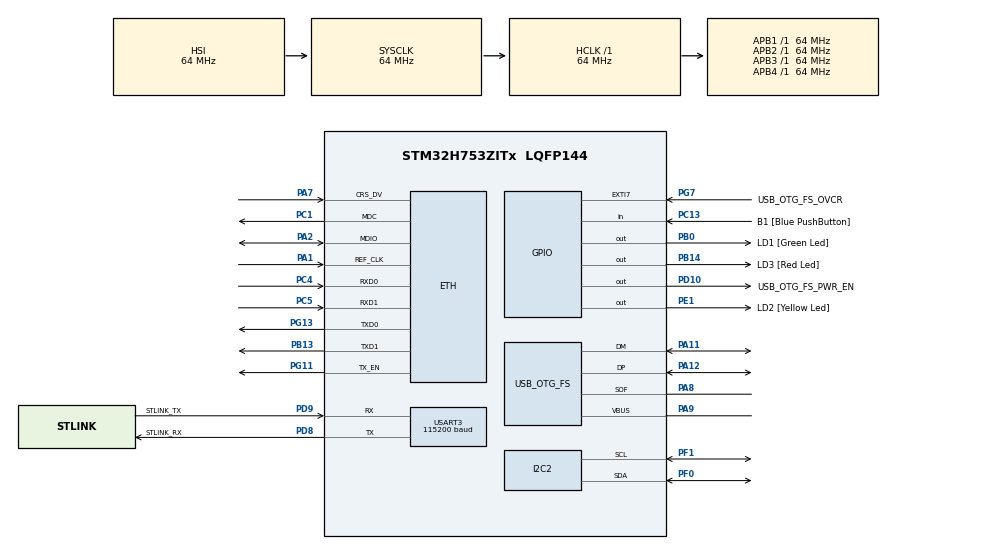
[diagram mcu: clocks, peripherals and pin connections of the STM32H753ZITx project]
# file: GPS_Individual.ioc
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CORTEX_M7.CPU_DCache=Disabled
CORTEX_M7.CPU_ICache=Disabled
CORTEX_M7.MPU_Control=__NULL
ETH.ETH_RX_DESC_CNT=4
ETH.ETH_TX_DESC_CNT=4
ETH.MACAddr=00\:80\:E1\:00\:00\:00
ETH.MediaInterface=HAL_ETH_RMII_MODE
ETH.RxBuffAddress=0x30040200
ETH.RxBuffLen=1524
ETH.RxDescAddress=0x30040000
ETH.TxDescAddress=0x30040060
Mcu.Family=STM32H7
Mcu.Name=STM32H753ZITx
Mcu.Package=LQFP144
NVIC.PriorityGroup=NVIC_PRIORITYGROUP_4
PA1.Mode=RMII
PA1.Signal=ETH_REF_CLK
PA11.Mode=Device_Only
PA11.Signal=USB_OTG_FS_DM
PA12.Mode=Device_Only
PA12.Signal=USB_OTG_FS_DP
PA2.Mode=RMII
PA2.Signal=ETH_MDIO
PA7.Mode=RMII
PA7.Signal=ETH_CRS_DV
PA8.Mode=Activate_SOF_FS
PA8.Signal=USB_OTG_FS_SOF
PA9.Mode=Activate_VBUS
PA9.Signal=USB_OTG_FS_VBUS
PB0.GPIO_Label=LD1 [Green Led]
PB0.Signal=GPIO_Output
PB13.Mode=RMII
PB13.Signal=ETH_TXD1
PB14.GPIO_Label=LD3 [Red Led]
PB14.Signal=GPIO_Output
PC1.Mode=RMII
PC1.Signal=ETH_MDC
PC13.GPIO_Label=B1 [Blue PushButton]
PC13.Signal=GPIO_Input
PC14-OSC32_IN\ (OSC32_IN).Mode=LSE-External-Oscillator
PC14-OSC32_IN\ (OSC32_IN).Signal=RCC_OSC32_IN
PC15-OSC32_OUT\ (OSC32_OUT).Mode=LSE-External-Oscillator
PC15-OSC32_OUT\ (OSC32_OUT).Signal=RCC_OSC32_OUT
PC4.Mode=RMII
PC4.Signal=ETH_RXD0
PC5.Mode=RMII
PC5.Signal=ETH_RXD1
PD10.GPIO_Label=USB_OTG_FS_PWR_EN
PD10.Signal=GPIO_Output
PD8.GPIO_Label=STLINK_RX
PD8.Mode=Asynchronous
PD8.Signal=USART3_TX
PD9.GPIO_Label=STLINK_TX
PD9.Mode=Asynchronous
PD9.Signal=USART3_RX
PE1.GPIO_Label=LD2 [Yellow Led]
PE1.Signal=GPIO_Output
PF0.Mode=I2C
PF0.Signal=I2C2_SDA
PF1.Mode=I2C
PF1.Signal=I2C2_SCL
PG11.Mode=RMII
PG11.Signal=ETH_TX_EN
PG13.Mode=RMII
PG13.Signal=ETH_TXD0
PG7.GPIO_Label=USB_OTG_FS_OVCR
PG7.Signal=GPXTI7
PH0-OSC_IN\ (PH0).Mode=HSE-External-Clock-Source
PH0-OSC_IN\ (PH0).Signal=RCC_OSC_IN
PH1-OSC_OUT\ (PH1).Signal=RCC_OSC_OUT
ProjectManager.HeapSize=0x200
ProjectManager.StackSize=0x400
ProjectManager.TargetToolchain=STM32CubeIDE
RCC.ADCFreq_Value=16125000
RCC.APB1Freq_Value=64000000
RCC.APB2Freq_Value=64000000
RCC.APB3Freq_Value=64000000
RCC.APB4Freq_Value=64000000
RCC.CortexFreq_Value=64000000
RCC.DIVM1=1
RCC.DIVN1=24
RCC.DIVQ1=4
RCC.HCLKFreq_Value=64000000
RCC.HSE_VALUE=8000000
RCC.PLLFRACN=0
RCC.PWR_Regulator_Voltage_Scale=PWR_REGULATOR_VOLTAGE_SCALE2
RCC.SYSCLKFreq_VALUE=64000000
RCC.USBFreq_Value=48000000
USART3.AutoBaudRateEnableParam=UART_ADVFEATURE_AUTOBAUDRATE_DISABLE
USART3.BaudRate=115200
USART3.ClockPrescaler=PRESCALER_DIV1
USART3.DMADisableonRxErrorParam=ADVFEATURE_DMA_ENABLEONRXERROR
USART3.DataInvertParam=ADVFEATURE_DATAINV_DISABLE
USART3.FIFOMode=FIFOMODE_DISABLE
USART3.MSBFirstParam=ADVFEATURE_MSBFIRST_DISABLE
USART3.Mode=MODE_TX_RX
USART3.OneBitSampling=UART_ONE_BIT_SAMPLE_DISABLE
USART3.OverSampling=UART_OVERSAMPLING_16
USART3.OverrunDisableParam=ADVFEATURE_OVERRUN_ENABLE
USART3.Parity=PARITY_NONE
USART3.RXFIFOThreshold=RXFIFO_THRESHOLD_1EIGHTHFULL
USART3.RxPinLevelInvertParam=ADVFEATURE_RXINV_DISABLE
USART3.StopBits=STOPBITS_1
USART3.SwapParam=ADVFEATURE_SWAP_DISABLE
USART3.TXFIFOThreshold=TXFIFO_THRESHOLD_1EIGHTHFULL
USART3.TxPinLevelInvertParam=ADVFEATURE_TXINV_DISABLE
USART3.VirtualMode-Asynchronous=VM_ASYNC
USART3.WordLength=WORDLENGTH_8B
USB_OTG_FS.Sof_enable=ENABLE
USB_OTG_FS.VirtualMode=Device_Only
USB_OTG_FS.battery_charging_enable=ENABLE
USB_OTG_FS.low_power_enable=DISABLE
USB_OTG_FS.lpm_enable=DISABLE
USB_OTG_FS.use_dedicated_ep1=DISABLE
USB_OTG_FS.vbus_sensing_enable=ENABLE
board=NUCLEO-H753ZI

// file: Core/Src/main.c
/* USER CODE BEGIN Header */
	/**
	  ******************************************************************************
	  * @file           : main.c
	  * @brief          : Main program body
	  ******************************************************************************
	  * @attention
	  *
	  * Copyright (c) 2024 STMicroelectronics.
	  * All rights reserved.
	  *
	  * This software is licensed under terms that can be found in the LICENSE file
	  * in the root directory of this software component.
	  * If no LICENSE file comes with this software, it is provided AS-IS.
	  *
	  ******************************************************************************
	  */
/* USER CODE END Header */
#include "main.h"
#include "string.h"

/* USER CODE BEGIN PD */
	#define PA1010D_ADDR 0x10  // I2C address for PA1010D
	#define MAX_READ 250       // Maximum read buffer size
/* USER CODE END PD */

#if defined ( __ICCARM__ ) /*!< IAR Compiler */
#pragma location=0x30040000
ETH_DMADescTypeDef  DMARxDscrTab[ETH_RX_DESC_CNT]; /* Ethernet Rx DMA Descriptors */
#pragma location=0x30040060
ETH_DMADescTypeDef  DMATxDscrTab[ETH_TX_DESC_CNT]; /* Ethernet Tx DMA Descriptors */

#elif defined ( __CC_ARM )  /* MDK ARM Compiler */

__attribute__((at(0x30040000))) ETH_DMADescTypeDef  DMARxDscrTab[ETH_RX_DESC_CNT]; /* Ethernet Rx DMA Descriptors */
__attribute__((at(0x30040060))) ETH_DMADescTypeDef  DMATxDscrTab[ETH_TX_DESC_CNT]; /* Ethernet Tx DMA Descriptors */

#elif defined ( __GNUC__ ) /* GNU Compiler */
ETH_DMADescTypeDef DMARxDscrTab[ETH_RX_DESC_CNT] __attribute__((section(".RxDecripSection"))); /* Ethernet Rx DMA Descriptors */
ETH_DMADescTypeDef DMATxDscrTab[ETH_TX_DESC_CNT] __attribute__((section(".TxDecripSection")));   /* Ethernet Tx DMA Descriptors */

#endif

ETH_TxPacketConfig TxConfig;

ETH_HandleTypeDef heth;

I2C_HandleTypeDef hi2c2;

UART_HandleTypeDef huart3;

PCD_HandleTypeDef hpcd_USB_OTG_FS;

void SystemClock_Config(void);
static void MX_GPIO_Init(void);
static void MX_ETH_Init(void);
static void MX_USART3_UART_Init(void);
static void MX_USB_OTG_FS_PCD_Init(void);
static void MX_I2C2_Init(void);
/* USER CODE BEGIN PFP */
	void pa1010d_write_command(const char *command, int com_length);
	void pa1010d_parse_string(char *output, const char *protocol);
	void pa1010d_read_raw(char *numcommand);
/* USER CODE END PFP */

int main(void)
{

  /* MCU Configuration--------------------------------------------------------*/

  /* Reset of all peripherals, Initializes the Flash interface and the Systick. */
  HAL_Init();

  /* Configure the system clock */
  SystemClock_Config();

  /* Initialize all configured peripherals */
  MX_GPIO_Init();
  MX_ETH_Init();
  MX_USART3_UART_Init();
  MX_USB_OTG_FS_PCD_Init();
  MX_I2C2_Init();
  /* USER CODE BEGIN 2 */
	  char numcommand[MAX_READ];
	  char init_command[] = "$PMTK314,0,1,0,0,0,0,0,0,0,0,0,0,0,0,0,0,0*29\r\n";

	  // Write initialization command to PA1010D
	  pa1010d_write_command(init_command, sizeof(init_command) - 1);
  /* USER CODE END 2 */

  /* Infinite loop */
  /* USER CODE BEGIN WHILE */
	  while (1) {
	      // Clear the buffer before reading
	      memset(numcommand, 0, MAX_READ);

	      // Read raw data from PA1010D
	      pa1010d_read_raw(numcommand);

	      // Parse the GNRMC string
	      pa1010d_parse_string(numcommand, "GNRMC");

	      // Wait for the next GPS update
	      HAL_Delay(1000);
	  }
    /* USER CODE END WHILE */

  }

void SystemClock_Config(void)
{
  RCC_OscInitTypeDef RCC_OscInitStruct = {0};
  RCC_ClkInitTypeDef RCC_ClkInitStruct = {0};

  /** Supply configuration update enable
  */
  HAL_PWREx_ConfigSupply(PWR_LDO_SUPPLY);

  /** Configure the main internal regulator output voltage
  */
  __HAL_PWR_VOLTAGESCALING_CONFIG(PWR_REGULATOR_VOLTAGE_SCALE2);

  while(!__HAL_PWR_GET_FLAG(PWR_FLAG_VOSRDY)) {}

  /** Initializes the RCC Oscillators according to the specified parameters
  * in the RCC_OscInitTypeDef structure.
  */
  RCC_OscInitStruct.OscillatorType = RCC_OSCILLATORTYPE_HSI|RCC_OSCILLATORTYPE_HSE;
  RCC_OscInitStruct.HSEState = RCC_HSE_BYPASS;
  RCC_OscInitStruct.HSIState = RCC_HSI_DIV1;
  RCC_OscInitStruct.HSICalibrationValue = RCC_HSICALIBRATION_DEFAULT;
  RCC_OscInitStruct.PLL.PLLState = RCC_PLL_ON;
  RCC_OscInitStruct.PLL.PLLSource = RCC_PLLSOURCE_HSE;
  RCC_OscInitStruct.PLL.PLLM = 1;
  RCC_OscInitStruct.PLL.PLLN = 24;
  RCC_OscInitStruct.PLL.PLLP = 2;
  RCC_OscInitStruct.PLL.PLLQ = 4;
  RCC_OscInitStruct.PLL.PLLR = 2;
  RCC_OscInitStruct.PLL.PLLRGE = RCC_PLL1VCIRANGE_3;
  RCC_OscInitStruct.PLL.PLLVCOSEL = RCC_PLL1VCOWIDE;
  RCC_OscInitStruct.PLL.PLLFRACN = 0;
  if (HAL_RCC_OscConfig(&RCC_OscInitStruct) != HAL_OK)
  {
    Error_Handler();
  }

  /** Initializes the CPU, AHB and APB buses clocks
  */
  RCC_ClkInitStruct.ClockType = RCC_CLOCKTYPE_HCLK|RCC_CLOCKTYPE_SYSCLK
                              |RCC_CLOCKTYPE_PCLK1|RCC_CLOCKTYPE_PCLK2
                              |RCC_CLOCKTYPE_D3PCLK1|RCC_CLOCKTYPE_D1PCLK1;
  RCC_ClkInitStruct.SYSCLKSource = RCC_SYSCLKSOURCE_HSI;
  RCC_ClkInitStruct.SYSCLKDivider = RCC_SYSCLK_DIV1;
  RCC_ClkInitStruct.AHBCLKDivider = RCC_HCLK_DIV1;
  RCC_ClkInitStruct.APB3CLKDivider = RCC_APB3_DIV1;
  RCC_ClkInitStruct.APB1CLKDivider = RCC_APB1_DIV1;
  RCC_ClkInitStruct.APB2CLKDivider = RCC_APB2_DIV1;
  RCC_ClkInitStruct.APB4CLKDivider = RCC_APB4_DIV1;

  if (HAL_RCC_ClockConfig(&RCC_ClkInitStruct, FLASH_LATENCY_1) != HAL_OK)
  {
    Error_Handler();
  }
}

static void MX_ETH_Init(void)
{

   static uint8_t MACAddr[6];

  heth.Instance = ETH;
  MACAddr[0] = 0x00;
  MACAddr[1] = 0x80;
  MACAddr[2] = 0xE1;
  MACAddr[3] = 0x00;
  MACAddr[4] = 0x00;
  MACAddr[5] = 0x00;
  heth.Init.MACAddr = &MACAddr[0];
  heth.Init.MediaInterface = HAL_ETH_RMII_MODE;
  heth.Init.TxDesc = DMATxDscrTab;
  heth.Init.RxDesc = DMARxDscrTab;
  heth.Init.RxBuffLen = 1524;

  if (HAL_ETH_Init(&heth) != HAL_OK)
  {
    Error_Handler();
  }

  memset(&TxConfig, 0 , sizeof(ETH_TxPacketConfig));
  TxConfig.Attributes = ETH_TX_PACKETS_FEATURES_CSUM | ETH_TX_PACKETS_FEATURES_CRCPAD;
  TxConfig.ChecksumCtrl = ETH_CHECKSUM_IPHDR_PAYLOAD_INSERT_PHDR_CALC;
  TxConfig.CRCPadCtrl = ETH_CRC_PAD_INSERT;

}

static void MX_I2C2_Init(void)
{

  hi2c2.Instance = I2C2;
  hi2c2.Init.Timing = 0x10707DBC;
  hi2c2.Init.OwnAddress1 = 0;
  hi2c2.Init.AddressingMode = I2C_ADDRESSINGMODE_7BIT;
  hi2c2.Init.DualAddressMode = I2C_DUALADDRESS_DISABLE;
  hi2c2.Init.OwnAddress2 = 0;
  hi2c2.Init.OwnAddress2Masks = I2C_OA2_NOMASK;
  hi2c2.Init.GeneralCallMode = I2C_GENERALCALL_DISABLE;
  hi2c2.Init.NoStretchMode = I2C_NOSTRETCH_DISABLE;
  if (HAL_I2C_Init(&hi2c2) != HAL_OK)
  {
    Error_Handler();
  }

  /** Configure Analogue filter
  */
  if (HAL_I2CEx_ConfigAnalogFilter(&hi2c2, I2C_ANALOGFILTER_ENABLE) != HAL_OK)
  {
    Error_Handler();
  }

  /** Configure Digital filter
  */
  if (HAL_I2CEx_ConfigDigitalFilter(&hi2c2, 0) != HAL_OK)
  {
    Error_Handler();
  }

}

static void MX_USART3_UART_Init(void)
{

  huart3.Instance = USART3;
  huart3.Init.BaudRate = 115200;
  huart3.Init.WordLength = UART_WORDLENGTH_8B;
  huart3.Init.StopBits = UART_STOPBITS_1;
  huart3.Init.Parity = UART_PARITY_NONE;
  huart3.Init.Mode = UART_MODE_TX_RX;
  huart3.Init.HwFlowCtl = UART_HWCONTROL_NONE;
  huart3.Init.OverSampling = UART_OVERSAMPLING_16;
  huart3.Init.OneBitSampling = UART_ONE_BIT_SAMPLE_DISABLE;
  huart3.Init.ClockPrescaler = UART_PRESCALER_DIV1;
  huart3.AdvancedInit.AdvFeatureInit = UART_ADVFEATURE_NO_INIT;
  if (HAL_UART_Init(&huart3) != HAL_OK)
  {
    Error_Handler();
  }
  if (HAL_UARTEx_SetTxFifoThreshold(&huart3, UART_TXFIFO_THRESHOLD_1_8) != HAL_OK)
  {
    Error_Handler();
  }
  if (HAL_UARTEx_SetRxFifoThreshold(&huart3, UART_RXFIFO_THRESHOLD_1_8) != HAL_OK)
  {
    Error_Handler();
  }
  if (HAL_UARTEx_DisableFifoMode(&huart3) != HAL_OK)
  {
    Error_Handler();
  }

}

static void MX_USB_OTG_FS_PCD_Init(void)
{

  hpcd_USB_OTG_FS.Instance = USB_OTG_FS;
  hpcd_USB_OTG_FS.Init.dev_endpoints = 9;
  hpcd_USB_OTG_FS.Init.speed = PCD_SPEED_FULL;
  hpcd_USB_OTG_FS.Init.dma_enable = DISABLE;
  hpcd_USB_OTG_FS.Init.phy_itface = PCD_PHY_EMBEDDED;
  hpcd_USB_OTG_FS.Init.Sof_enable = ENABLE;
  hpcd_USB_OTG_FS.Init.low_power_enable = DISABLE;
  hpcd_USB_OTG_FS.Init.lpm_enable = DISABLE;
  hpcd_USB_OTG_FS.Init.battery_charging_enable = ENABLE;
  hpcd_USB_OTG_FS.Init.vbus_sensing_enable = ENABLE;
  hpcd_USB_OTG_FS.Init.use_dedicated_ep1 = DISABLE;
  if (HAL_PCD_Init(&hpcd_USB_OTG_FS) != HAL_OK)
  {
    Error_Handler();
  }

}

static void MX_GPIO_Init(void)
{
  GPIO_InitTypeDef GPIO_InitStruct = {0};

  /* GPIO Ports Clock Enable */
  __HAL_RCC_GPIOC_CLK_ENABLE();
  __HAL_RCC_GPIOF_CLK_ENABLE();
  __HAL_RCC_GPIOH_CLK_ENABLE();
  __HAL_RCC_GPIOA_CLK_ENABLE();
  __HAL_RCC_GPIOB_CLK_ENABLE();
  __HAL_RCC_GPIOD_CLK_ENABLE();
  __HAL_RCC_GPIOG_CLK_ENABLE();
  __HAL_RCC_GPIOE_CLK_ENABLE();

  /*Configure GPIO pin Output Level */
  HAL_GPIO_WritePin(GPIOB, LD1_Pin|LD3_Pin, GPIO_PIN_RESET);

  /*Configure GPIO pin Output Level */
  HAL_GPIO_WritePin(USB_OTG_FS_PWR_EN_GPIO_Port, USB_OTG_FS_PWR_EN_Pin, GPIO_PIN_RESET);

  /*Configure GPIO pin Output Level */
  HAL_GPIO_WritePin(LD2_GPIO_Port, LD2_Pin, GPIO_PIN_RESET);

  /*Configure GPIO pin : B1_Pin */
  GPIO_InitStruct.Pin = B1_Pin;
  GPIO_InitStruct.Mode = GPIO_MODE_INPUT;
  GPIO_InitStruct.Pull = GPIO_NOPULL;
  HAL_GPIO_Init(B1_GPIO_Port, &GPIO_InitStruct);

  /*Configure GPIO pins : LD1_Pin LD3_Pin */
  GPIO_InitStruct.Pin = LD1_Pin|LD3_Pin;
  GPIO_InitStruct.Mode = GPIO_MODE_OUTPUT_PP;
  GPIO_InitStruct.Pull = GPIO_NOPULL;
  GPIO_InitStruct.Speed = GPIO_SPEED_FREQ_LOW;
  HAL_GPIO_Init(GPIOB, &GPIO_InitStruct);

  /*Configure GPIO pin : USB_OTG_FS_PWR_EN_Pin */
  GPIO_InitStruct.Pin = USB_OTG_FS_PWR_EN_Pin;
  GPIO_InitStruct.Mode = GPIO_MODE_OUTPUT_PP;
  GPIO_InitStruct.Pull = GPIO_NOPULL;
  GPIO_InitStruct.Speed = GPIO_SPEED_FREQ_LOW;
  HAL_GPIO_Init(USB_OTG_FS_PWR_EN_GPIO_Port, &GPIO_InitStruct);

  /*Configure GPIO pin : USB_OTG_FS_OVCR_Pin */
  GPIO_InitStruct.Pin = USB_OTG_FS_OVCR_Pin;
  GPIO_InitStruct.Mode = GPIO_MODE_IT_RISING;
  GPIO_InitStruct.Pull = GPIO_NOPULL;
  HAL_GPIO_Init(USB_OTG_FS_OVCR_GPIO_Port, &GPIO_InitStruct);

  /*Configure GPIO pin : LD2_Pin */
  GPIO_InitStruct.Pin = LD2_Pin;
  GPIO_InitStruct.Mode = GPIO_MODE_OUTPUT_PP;
  GPIO_InitStruct.Pull = GPIO_NOPULL;
  GPIO_InitStruct.Speed = GPIO_SPEED_FREQ_LOW;
  HAL_GPIO_Init(LD2_GPIO_Port, &GPIO_InitStruct);

}

/* USER CODE BEGIN 4 */

	void pa1010d_write_command(const char *command, int com_length) {
	    HAL_I2C_Master_Transmit(&hi2c2
	    		, PA1010D_ADDR << 1, (uint8_t *)command, com_length, HAL_MAX_DELAY);
	}

	// Function to parse the GNRMC string
	void pa1010d_parse_string(char *output, const char *protocol) {
	    char *com_index = strstr(output, protocol);
	    if (com_index == NULL) return;

	    int p = com_index - output;
	    #define NO_OF_FIELDS 14
	    #define MAX_LEN 15
	    char gps_data[NO_OF_FIELDS][MAX_LEN] = {0};
	    int n = 0, m = 0;

	    while (output[p] != '$' && n < NO_OF_FIELDS) {
	        if (output[p] == ',' || output[p] == '*') {
	            n++; m = 0;
	        } else {
	            gps_data[n][m++] = output[p];
	            if (m >= MAX_LEN) break;
	        }
	        p++;
	    }

	    if (strcmp(protocol, "GNRMC") == 0) {
	        char buffer[256];
	        snprintf(buffer, sizeof(buffer), "UTC Time: %s, Latitude: %s %s, Longitude: %s %s, Date: %s\n",
	                 gps_data[1], gps_data[3], gps_data[4], gps_data[5], gps_data[6], gps_data[9]);
	        HAL_UART_Transmit(&huart3, (uint8_t*)buffer, strlen(buffer), HAL_MAX_DELAY);
	    }
	}

	// Function to read raw data from PA1010D over I2C
	void pa1010d_read_raw(char *numcommand) {
	    uint8_t buffer[MAX_READ];
	    HAL_I2C_Master_Receive(&hi2c2, PA1010D_ADDR << 1, buffer, MAX_READ, HAL_MAX_DELAY);

	    for (int i = 0; i < MAX_READ; i++) {
	        numcommand[i] = buffer[i];
	        if (buffer[i] == '\n' && buffer[i + 1] == '\n') break;
	    }
	}

/* USER CODE END 4 */

void Error_Handler(void)
{
	  __disable_irq();
	  while (1)
	  {
	  }
}
